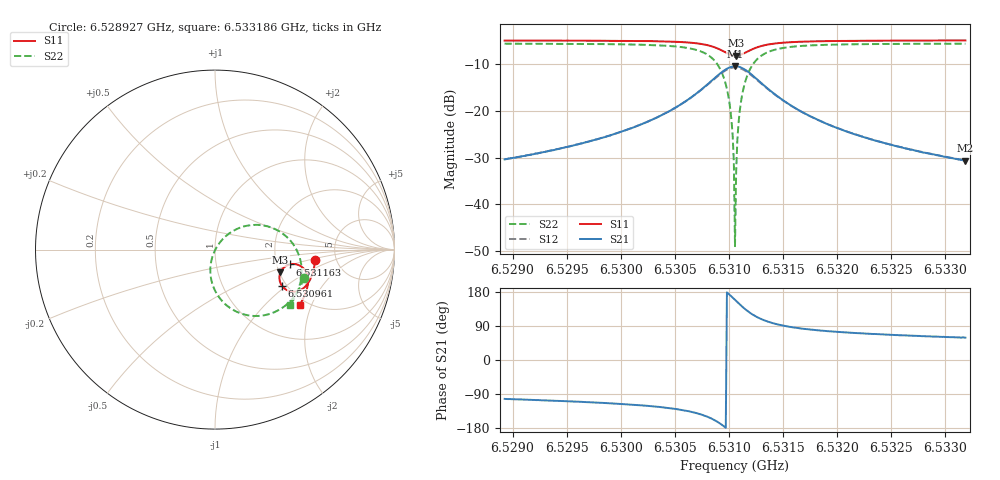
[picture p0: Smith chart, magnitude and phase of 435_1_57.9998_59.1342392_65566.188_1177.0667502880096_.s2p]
#  HZ  S  RI  R  50.00
! Rohde & Schwarz Vector Network Analyzer
! Rohde-Schwarz,ZNB20-2Port,1311601062101988,3.16
! Created: UTC 3/21/2024, 1:09:48 AM
! freq[Hz]  re:S11  im:S11  re:S21  im:S21  re:S12  im:S12  re:S22  im:S22
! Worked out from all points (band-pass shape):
!   401 points, 6.528927 GHz to 6.533186 GHz, reference 50 ohm
!   highest |S21| = -10.49 dB at 6.531057 GHz (marker M1); lowest = -30.6 dB at 6.533186 GHz (marker M2)
!   |S21| within 3 dB of the highest: 6.530846 GHz to 6.531271 GHz (425.2 kHz wide, 0.00651 % of centre)
!   lowest |S11| = -8.3 dB at 6.531067 GHz (marker M3), VSWR 2.26, Z = 101 - j30.3 ohm
!   |S11| at or under -10 dB: nowhere
!   |S22| runs from -48.9 to -5.7 dB; largest |S21 - S12| = 0.011
!   S11 on the Smith chart (normalised r, x): 6.528927 GHz: 3.46, -0.56; 6.530961 GHz: 1.89, -0.93; 6.531163 GHz: 2.35, -0.47; 6.533186 GHz: 1.82, -1.65
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6.5289269e9  0.5583 -0.0555  -0.00662 -0.0295  -0.00717 -0.0295  0.4956 -0.1584
6.5296404e9  0.5482 -0.1143  -0.0158 -0.042  -0.0167 -0.0417  0.466 -0.2241
6.5303538e9  0.5203 -0.1839  -0.0483 -0.0722  -0.0503 -0.071  0.3868 -0.3159
6.5307798e9  0.4514 -0.2333  -0.153 -0.098  -0.1554 -0.092  0.1854 -0.3664
6.5308863e9  0.4076 -0.2287  -0.2209 -0.0728  -0.2203 -0.0638  0.0695 -0.3146
6.5309608e9  0.3737 -0.2024  -0.2711 -0.0163  -0.266 -0.00692  -0.00747 -0.2114
6.5309928e9  0.3633 -0.1828  -0.2847 0.0212  -0.2771 0.0295  -0.0244 -0.1467
6.5310141e9  0.3595 -0.1677  -0.2882 0.0497  -0.2794 0.0566  -0.0257 -0.0991
6.5310247e9  0.3588 -0.1595  -0.2878 0.0642  -0.2785 0.0706  -0.0228 -0.0748
6.5310354e9  0.3589 -0.1514  -0.2863 0.0793  -0.2764 0.0846  -0.0176 -0.0505
6.531046e9  0.3598 -0.1432  -0.283 0.094  -0.2728 0.0986  -0.00985 -0.0264
6.5310567e9  0.3619 -0.1349  -0.2784 0.1086  -0.268 0.1121  0.000108 -0.00359
6.5310673e9  0.3646 -0.1271  -0.2721 0.1226  -0.2617 0.1252  0.0124 0.0186
6.531078e9  0.3682 -0.1196  -0.2646 0.1359  -0.2544 0.1375  0.0268 0.0394
6.5310886e9  0.3726 -0.1126  -0.2561 0.1482  -0.2459 0.149  0.0429 0.0582
6.5311099e9  0.3833 -0.1005  -0.2356 0.1696  -0.2264 0.1689  0.0794 0.0902
6.5311632e9  0.4154 -0.0827  -0.1768 0.2014  -0.1703 0.1986  0.1819 0.1336
6.5312377e9  0.4573 -0.0831  -0.1033 0.204  -0.1 0.201  0.3063 0.1255
6.5313442e9  0.4938 -0.1052  -0.0396 0.1738  -0.0382 0.1724  0.4103 0.0607
6.5317701e9  0.5185 -0.1846  0.015 0.0839  0.016 0.0837  0.4829 -0.1282
6.5324836e9  0.4986 -0.2564  0.0174 0.0403  0.018 0.04  0.4552 -0.2446
6.5331864e9  0.4712 -0.3083  0.0152 0.0251  0.0156 0.025  0.4203 -0.3061
